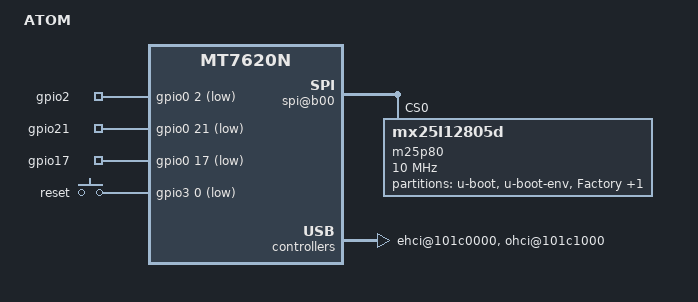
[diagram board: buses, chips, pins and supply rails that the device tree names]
/dts-v1/;

/include/ "mt7620n.dtsi"

/ {
	compatible = "atom", "ralink,mt7620n-soc";
	model = "ATOM";

	palmbus@10000000 {
		gpio1: gpio@638 {
			status = "okay";
		};
		gpio2: gpio@660 {
			status = "okay";
		};

		gpio3: gpio@688 {
			status = "okay";
		};

		spi@b00 {
			status = "okay";

			m25p80@0 {
				#address-cells = <1>;
				#size-cells = <1>;
				compatible = "mx25l12805d";
				reg = <0 0>;
				linux,modalias = "m25p80", "w25q128";
				spi-max-frequency = <10000000>;

				partition@0 {
					label = "u-boot";
					reg = <0x0 0x30000>;
          read-only;
				};

				partition@30000 {
					label = "u-boot-env";
					reg = <0x30000 0x10000>;
          read-only;
				};

				Factory: partition@40000 {
					label = "Factory";
					reg = <0x40000 0x10000>;
#read-only;
				};

				partition@50000 {
					label = "firmware";
					reg = <0x50000 0xfb0000>;
				};
			};
		};
	};

	ehci@101c0000 {
		status = "okay";
	};

	ohci@101c1000 {
		status = "okay";
	};

	ethernet@10100000 {
		mtd-mac-address = <&Factory 0x4>;
		ralink,port-map = "wllll";
	};

	wmac@10180000 {
		ralink,mtd-eeprom = <&Factory 0>;
	};

	pinctrl {
		state_default: pinctrl0 {
			default {
				ralink,group = "ephy", "wled", "pa", "i2c", "wdt", "uartf" ,"spi refclk";
				ralink,function = "gpio";
			};
		};
	};

	gpio-export {
		compatible = "gpio-export";
		#size-cells = <0>;

		/*Color LED-B*/
		gpio2 {
      gpio-export,name = "gpio2";
			gpio-export,output = <0>;
      gpio-export,direction_may_change = <1>;
			/*<&gpio0 2 0> gpio0 denotesthe name of gpio group, 
				2 denotes pin number in the group, 1 denotes the value of active_low*/
      gpios = <&gpio0 2 1>;
		};

		/*Color LED-G*/
		gpio21 {
      gpio-export,name = "gpio21";
			gpio-export,output = <0>;
      gpio-export,direction_may_change = <1>;
      gpios = <&gpio0 21 1>;
		};
		
		/*Color LED-R*/
		gpio17 {
      gpio-export,name = "gpio17";
			gpio-export,output = <1>;
      gpio-export,direction_may_change = <1>;
      gpios = <&gpio0 17 1>;
		};
	};

	gpio-keys-polled {
  	 compatible = "gpio-keys-polled";
  	 #address-cells = <1>;
		 #size-cells = <0>;
   	 poll-interval = <20>;
    
		 reset {
      	label = "reset";
      	gpios = <&gpio3 0 1>;
      	linux,code = <0x198>;
    	};
  };

};
